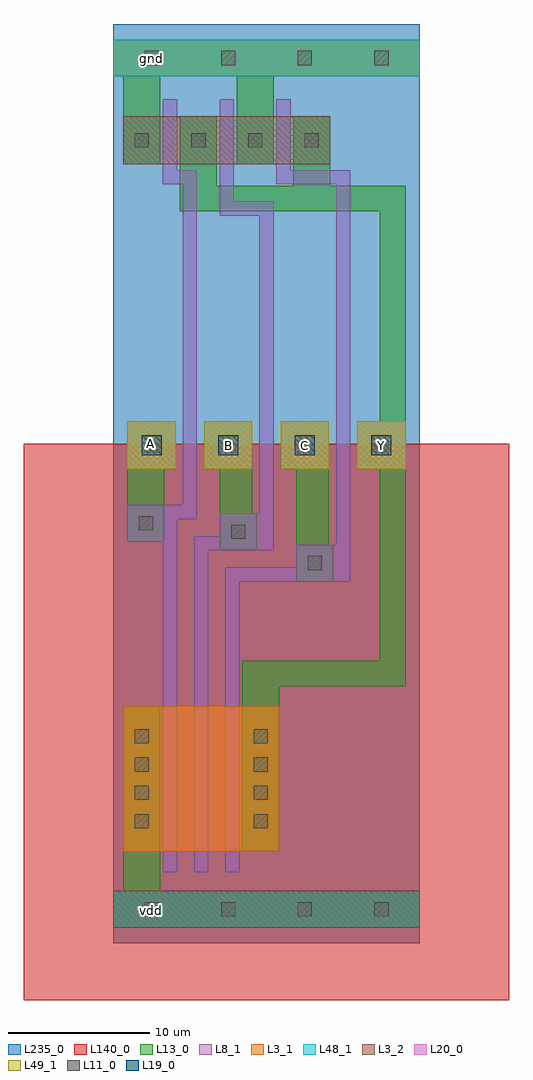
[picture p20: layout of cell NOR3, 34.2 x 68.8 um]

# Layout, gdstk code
import gdstk
lib = gdstk.Library(unit=1e-6, precision=1e-09)
def R(c, l, rs):  # rectangles x0, y0, x1, y1
    for r in rs: c.add(gdstk.rectangle(r[:2], r[2:], *l))
def A(c, l, x, y, w, h, nx, ny, dx, dy):  # array of equal rectangles
    R(c, l, [(x+i*dx, y+j*dy, x+i*dx+w, y+j*dy+h) for i in range(nx) for j in range(ny)])
def P(c, l, *ps):  # polygons
    for p in ps: c.add(gdstk.Polygon(p, *l))
L3_1 = (3, 1)
L3_2 = (3, 2)
L8_1 = (8, 1)
L11_0 = (11, 0)
L13_0 = (13, 0)
L19_0 = (19, 0)
L20_0 = (20, 0)
L48_1 = (48, 1)
L49_1 = (49, 1)
L140_0 = (140, 0)
L235_0 = (235, 0)

nor3 = lib.new_cell('NOR3')
R(nor3, L3_1, [(0.7,-58.3,11.7,-48.1), (0,-3.7,21.6,-1.1)])
R(nor3, L3_2, [(0,-63.7,21.6,-61.1), (0.7,-9.9,15.3,-6.5)])
P(nor3, L8_1, [(5.7,-59.8),(5.7,-36.1),(7.5,-36.1),(7.5,-34.5),(10.3,-34.5),(10.3,-13.5),(7.5,-13.5),(7.5,-5.3),(8.5,-5.3),(8.5,-12.5),(11.3,-12.5),(11.3,-37.1),(6.7,-37.1),(6.7,-59.8)],
  [(3.5,-59.8),(3.5,-36.5),(1,-36.5),(1,-33.9),(4.9,-33.9),(4.9,-11.3),(3.5,-11.3),(3.5,-5.3),(4.5,-5.3),(4.5,-10.3),(5.9,-10.3),(5.9,-34.9),(4.5,-34.9),(4.5,-59.8)],
  [(7.9,-59.8),(7.9,-38.3),(12.9,-38.3),(12.9,-36.7),(15.7,-36.7),(15.7,-11.3),(11.5,-11.3),(11.5,-5.3),(12.5,-5.3),(12.5,-10.3),(16.7,-10.3),(16.7,-39.3),(8.9,-39.3),(8.9,-59.8)])
A(nor3, L11_0, 7.6, -62.9, 1, 1, 3, 2, 5.4, 60)
A(nor3, L11_0, 1.5, -56.7, 1, 1, 1, 4, 0, 2)
A(nor3, L11_0, 9.9, -56.7, 1, 1, 1, 4, 0, 2)
A(nor3, L11_0, 1.5, -8.7, 1, 1, 4, 1, 4, 0)
R(nor3, L11_0, [(2.2,-62.9,3.2,-61.9), (2.2,-62.9,3.2,-61.9), (7.6,-62.9,8.6,-61.9), (7.6,-62.9,8.6,-61.9), (7.6,-62.9,8.6,-61.9), (13.7,-38.5,14.7,-37.5), (8.3,-36.3,9.3,-35.3), (1.8,-35.7,2.8,-34.7), (2.2,-2.9,3.2,-1.9), (7.6,-2.9,8.6,-1.9)])
R(nor3, L13_0, [(0,-63.7,21.6,-61.1), (0.7,-61.1,3.3,-48.1), (1,-36.5,3.6,-31.4), (1,-31.4,4.4,-28), (1,-31.4,4.4,-28), (6.4,-31.4,9.8,-28), (6.4,-31.4,9.8,-28), (11.8,-31.4,15.2,-28), (11.8,-31.4,15.2,-28), (17.2,-31.4,20.6,-28), (12.7,-11.4,15.3,-6.5), (0.7,-9.9,3.3,-3.7), (8.7,-9.9,11.3,-3.7), (0,-3.7,21.6,-1.1)])
P(nor3, L13_0, [(12.9,-39.3),(12.9,-31.4),(15.2,-31.4),(15.2,-36.7),(15.5,-36.7),(15.5,-39.3)],
  [(7.5,-37.1),(7.5,-31.4),(9.8,-31.4),(9.8,-34.5),(10.1,-34.5),(10.1,-37.1)],
  [(9.1,-58.3),(9.1,-44.9),(18.8,-44.9),(18.8,-31.4),(17.2,-31.4),(17.2,-28),(18.8,-28),(18.8,-13.2),(4.7,-13.2),(4.7,-6.5),(7.3,-6.5),(7.3,-11.4),(20.6,-11.4),(20.6,-46.7),(11.7,-46.7),(11.7,-58.3)])
A(nor3, L19_0, 2, -30.4, 1.4, 1.4, 4, 1, 5.4, 0)
A(nor3, L20_0, 1, -31.4, 3.4, 3.4, 4, 1, 5.4, 0)
R(nor3, L48_1, [(0,-63.7,21.6,-61.1), (0,-3.7,21.6,-1.1)])
A(nor3, L49_1, 1, -31.4, 3.4, 3.4, 4, 1, 5.4, 0)
R(nor3, L140_0, [(-6.3,-68.8,27.9,-29.6)])
R(nor3, L235_0, [(0,-64.8,21.6,0)])
nor3.add(gdstk.Label('gnd', (2.7,-2.4), layer=48, texttype=0))
nor3.add(gdstk.Label('vdd', (2.7,-62.5), layer=48, texttype=0))
nor3.add(gdstk.Label('Y', (18.9,-29.7), layer=49, texttype=0))
nor3.add(gdstk.Label('C', (13.5,-29.7), layer=49, texttype=0))
nor3.add(gdstk.Label('A', (2.6,-29.6), layer=49, texttype=0))
nor3.add(gdstk.Label('B', (8.1,-29.7), layer=49, texttype=0))

lib.write_gds('NOR3.gds')
